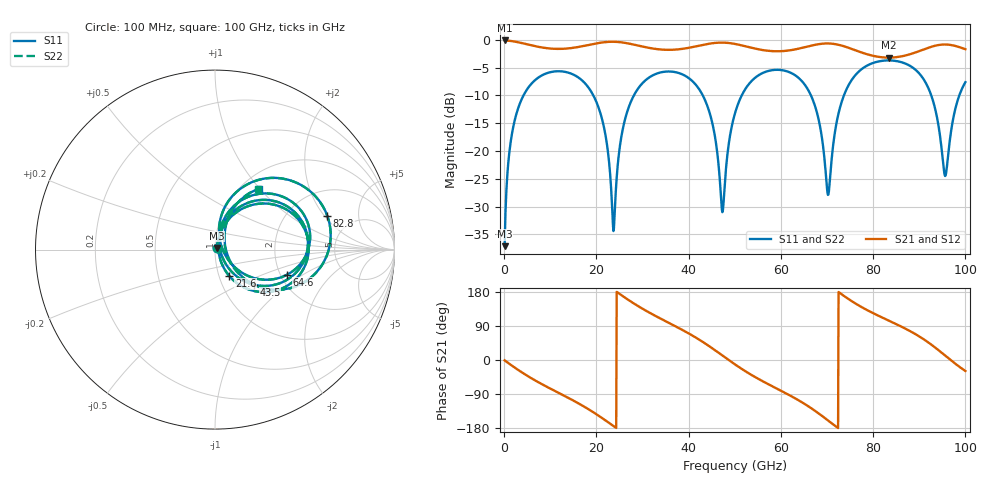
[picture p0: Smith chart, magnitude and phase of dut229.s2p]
! Touchstone file exported from HFSS 2026.1.0
!  File:  C:/ffzhzh/LocalFiles/Ansys_Project_Files/temp_train_TSV_RDL_229_1783664512_33328.aedt
!  Generated:  02:31:25 PM Jul 10, 2026
!  Design:  TSV_RDL
!  Project:  temp_train_TSV_RDL_229_1783664512_33328
! Variables:
!  h_bsmrdl = 4.52um
!  h_ox = 20um
!  h_rdl = 5um
!  h_sub = 80.53um
!  h_tmrdl = 4.99um
!  h_tsv = 80.53um
!  h_via = 3um
!  l_bsmrdl = 222.47um
!  l_sub = 2371.04um
!  l_tmrdl = 302.65um
!  m_sub = 200um
!  pitch = 45.18um
!  r_tsv = 7.85um
!  s_tmrdl = 10um
!  w_bsmrdl = 14.99um
!  w_sub = 500um
!  w_tmrdl = 16.02um
!  x_tsv_center1 = 310.66um
!  x_tsv_center2 = 548.12um
!  x_tsv_center3 = 866.79um
!  x_tsv_center4 = 1104.25um
!  x_tsv_center5 = 1422.92um
!  x_tsv_center6 = 1660.38um
# GHz S MA R 50.000000
! Terminal data exported
! Port[1] = TM_RDL1_1_T1
! Port[2] = TM_RDL5_1_T1
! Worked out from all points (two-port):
!   1000 points, 100 MHz to 100 GHz, reference 50 ohm
!   highest |S21| = -0.09 dB at 100 MHz (marker M1); lowest = -3.2 dB at 83.4 GHz (marker M2)
!   |S21| within 3 dB of the highest: start of sweep to 81.62 GHz; 85.09 GHz to end of sweep
!   lowest |S11| = -37.1 dB at 100 MHz (marker M3), VSWR 1.03, Z = 51.1 + j0.911 ohm
!   |S11| at or under -10 dB: 19.34 GHz to 28.12 GHz (8.777 GHz wide, 37 % of centre); 43.07 GHz to 51.5 GHz (8.431 GHz wide, 17.8 % of centre); 66.52 GHz to 73.66 GHz (7.137 GHz wide, 10.2 % of centre) (the widest 3 of 5)
!   |S22| runs from -37.1 to -3.7 dB; largest |S21 - S12| = 3.9e-14
!   S11 on the Smith chart (normalised r, x): 100 MHz: 1.02, +0.02; 21.6 GHz: 1.12, -0.34; 43.5 GHz: 1.40, -0.60; 64.6 GHz: 2.16, -0.74; 82.8 GHz: 3.27, +2.14; 100 GHz: 1.20, +0.98
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0.1  0.01391 39.9  0.9894 -0.9  0.9894 -0.9  0.01391 39.9
! Gamma 0 0 0 0
! Port Impedance 50 0 50 0
1.5  0.1276 70.6  0.9782 -13.3  0.9782 -13.3  0.1276 70.6
4.3  0.3226 50.4  0.9275 -36.3  0.9275 -36.3  0.3226 50.4
10.8  0.5196 7.8  0.8325 -80.4  0.8325 -80.4  0.5196 7.8
16.8  0.4357 -29.3  0.8754 -119.2  0.8754 -119.2  0.4357 -29.4
21.6  0.1666 -61.5  0.953 -156.3  0.953 -156.3  0.1666 -61.7
23.8  0.0201 22.7  0.9628 -175.1  0.9628 -175.1  0.01976 23.0
26.8  0.234 64.2  0.932 159.6  0.932 159.6  0.2339 64.2
33.4  0.5031 20.9  0.8245 112.5  0.8245 112.5  0.5031 20.9
43.5  0.2905 -42.2  0.9098 44.3  0.9098 44.3  0.2905 -42.2
47.3  0.02812 6.2  0.9462 12.0  0.9462 12.0  0.02808 6.1
50.1  0.2224 70.3  0.9196 -12.1  0.9196 -12.1  0.2223 70.3
58.4  0.5364 18.1  0.792 -71.0  0.792 -71.0  0.5363 18.0
64.6  0.4235 -19.4  0.8487 -111.9  0.8487 -111.9  0.4234 -19.5
66.7  0.3042 -33.0  0.8908 -128.2  0.8908 -128.2  0.3041 -33.1
70.3  0.0406 27.3  0.9297 -160.3  0.9297 -160.3  0.04058 27.4
74.2  0.3578 68.2  0.8631 164.6  0.8631 164.6  0.3579 68.2
82.8  0.6534 16.7  0.6941 107.3  0.6941 107.3  0.6534 16.6
83.4  0.6542 13.6  0.6934 103.9  0.6934 103.9  0.6543 13.4
91.6  0.397 -34.2  0.84 49.5  0.84 49.5  0.3968 -34.5
95.6  0.05957 8.8  0.9101 11.9  0.9101 11.9  0.05736 8.6
100  0.4166 54.3  0.8252 -29.0  0.8252 -29.0  0.4164 54.5
